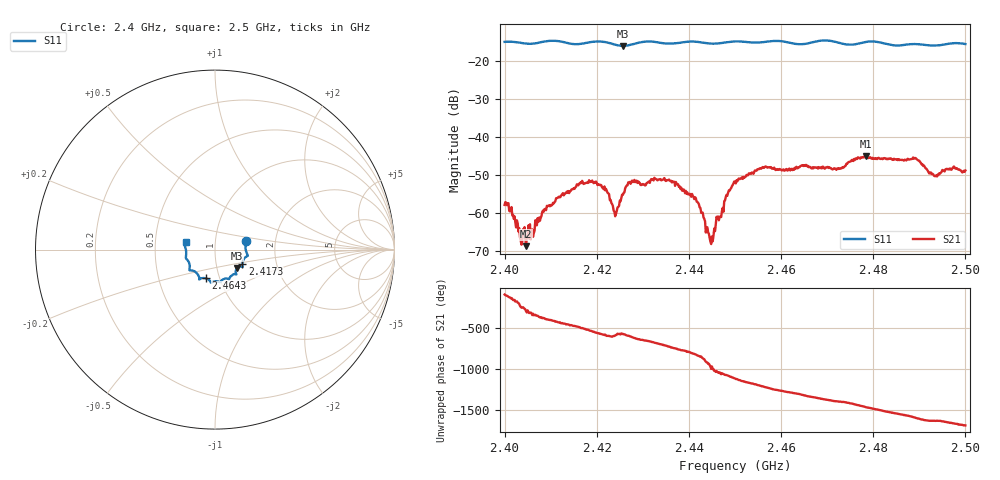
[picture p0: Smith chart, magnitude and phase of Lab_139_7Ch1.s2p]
# Hz S RI R 50
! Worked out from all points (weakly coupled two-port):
!   601 points, 2.4 GHz to 2.5 GHz, reference 50 ohm
!   highest |S21| = -44.91 dB at 2.4785 GHz (marker M1); lowest = -68.7 dB at 2.4047 GHz (marker M2)
!   lowest |S11| = -15.9 dB at 2.4257 GHz (marker M3), VSWR 1.38, Z = 62.4 - j13.1 ohm
!   |S11| at or under -10 dB: start of sweep to end of sweep
!   S12 and S22 are empty: the file has one direction only
!   S11 on the Smith chart (normalised r, x): 2.4 GHz: 1.41, +0.15; 2.4173 GHz: 1.34, -0.23; 2.4643 GHz: 0.86, -0.28; 2.5 GHz: 0.72, +0.06
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2.4e9  0.1733 0.0499  4.35e-05 -0.00129  0 0  0 0
2.403333e9  0.1732 0.0318  -0.000344 0.000344  0 0  0 0
2.404667e9  0.1703 0.0173  0.000148 0.000338  0 0  0 0
2.409167e9  0.1819 -0.0294  0.00106 -0.000668  0 0  0 0
2.416667e9  0.1531 -0.0748  -0.00187 -0.00166  0 0  0 0
2.417333e9  0.1524 -0.0823  -0.00211 -0.00129  0 0  0 0
2.4215e9  0.1532 -0.0951  -0.00162 0.00129  0 0  0 0
2.424e9  0.1362 -0.0942  -0.000598 0.000689  0 0  0 0
2.425667e9  0.1226 -0.1023  -0.00154 0.000825  0 0  0 0
2.427333e9  0.1157 -0.1175  -0.00119 0.00213  0 0  0 0
2.433333e9  0.1128 -0.1367  0.00235 0.00146  0 0  0 0
2.441167e9  0.0775 -0.1645  -0.000115 -0.00153  0 0  0 0
2.444833e9  0.0566 -0.1614  4.82e-05 0.00039  0 0  0 0
2.45e9  0.0298 -0.1807  0.00219 -0.00143  0 0  0 0
2.456333e9  -0.00906 -0.1795  -0.00279 -0.00283  0 0  0 0
2.464333e9  -0.0502 -0.1603  -0.0027 0.00324  0 0  0 0
2.466667e9  -0.0762 -0.1598  -0.000725 0.00381  0 0  0 0
2.4785e9  -0.1386 -0.1159  0.0051 -0.00251  0 0  0 0
2.483333e9  -0.1409 -0.0894  0.000607 -0.0052  0 0  0 0
2.489167e9  -0.1624 -0.0452  -0.00477 -0.0024  0 0  0 0
2.493667e9  -0.1614 -0.00573  -0.00311 0.000565  0 0  0 0
2.5e9  -0.1635 0.0421  -0.00139 0.00338  0 0  0 0
